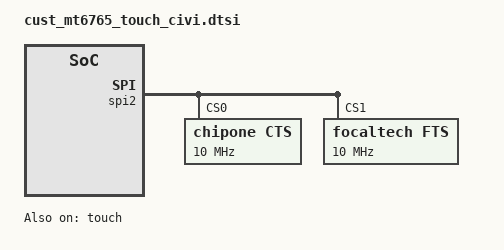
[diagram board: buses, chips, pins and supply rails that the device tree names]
// SPDX-License-Identifier: GPL-2.0+

/* TOUCH start */
//Begin added by yan.gong for CIVIC-3003 on 2022-07-12
/* TOUCH start */
&touch {
	tpd-resolution = <720 1612>;
	use-tpd-button = <0>;
	tpd-key-num = <3>;
	tpd-key-local= <139 172 158 0>;
	tpd-key-dim-local = <90 883 100 40 230
				 883 100 40 370 883 100 40 0 0 0 0>;
	tpd-max-touch-num = <10>;
	tpd-filter-enable = <0>;
	tpd-filter-pixel-density = <146>;
	tpd-filter-custom-prameters = <0 0 0 0 0 0 0 0 0 0 0 0>;
	tpd-filter-custom-speed = <0 0 0>;
	pinctrl-names = "default", "state_eint_as_int", "state_eint_output0",
		"state_eint_output1", "state_rst_output0", "state_rst_output1";
	pinctrl-0 = <&ctp_pins_default>;
	pinctrl-1 = <&ctp_pins_eint_as_int>;
	pinctrl-2 = <&ctp_pins_eint_output0>;
	pinctrl-3 = <&ctp_pins_eint_output1>;
	pinctrl-4 = <&ctp_pins_rst_output0>;
	pinctrl-5 = <&ctp_pins_rst_output1>;
	status = "okay";
};

&pio {
	ctp_pins_default: ctp_pins_default 
	{
		pins_cmd_dat {
			pinmux = <PINMUX_GPIO4__FUNC_GPIO4>;
			slew-rate = <0>;
			bias-disable;
		};
	};
	ctp_pins_eint_as_int: eint@0 {
		pins_cmd_dat {
			pinmux = <PINMUX_GPIO4__FUNC_GPIO4>;
			slew-rate = <0>;
			bias-disable;
		};
	};
	ctp_pins_eint_output0: eintoutput0 {
		pins_cmd_dat {
			pinmux = <PINMUX_GPIO4__FUNC_GPIO4>;
			slew-rate = <1>;
			output-low;
		};
	};
	ctp_pins_eint_output1: eintoutput1 {
		pins_cmd_dat {
			pinmux = <PINMUX_GPIO4__FUNC_GPIO4>;
			slew-rate = <1>;
			output-high;
		};
	};
	ctp_pins_rst_output0: rstoutput0 {
		pins_cmd_dat {
			pinmux = <PINMUX_GPIO174__FUNC_GPIO174>;
			slew-rate = <1>;
			output-low;
		};
	};
	ctp_pins_rst_output1: rstoutput1 {
		pins_cmd_dat {
			pinmux = <PINMUX_GPIO174__FUNC_GPIO174>;
			slew-rate = <1>;
			output-high;
		};
	};
};

&spi2 {
	#address-cells = <1>;
	#size-cells = <0>;
	status = "okay";
	mediatek,pad-select = <0>,<1>;

	chipone@0 {
		compatible = "chipone,cts";
		pinctrl-names = "state_spi_all";
		reg = <0>;
		spi-max-frequency = <10000000>;
		status = "okay";

		/* Charger detect */
		chipone,touch-charger-detect-enable;
		chipone,touch-charger-detect-type = "notify"; /* notify, poll */
		chipone,touch-charger-detect-psy-name = "mt6370_pmu_charger";
		chipone,touch-charger-detect-psp = "POWER_SUPPLY_PROP_ONLINE";
		chipone,touch-charger-detect-psp-poll-interval = <1000>;

		/* Earjack detect */

	//Begin added by zhangkun for CIVIC-3090 on 2022-08-08
		//chipone,touch-earjack-detect-enable;
		/* MTK:  /sys/bus/platform/drivers/Accdet_Driver/state,
		   Sprd: /sys/kernel/headset/state
		   QCOM: None, and disable it */
		//chipone,touch-earjack-state-filepath = "/sys/bus/platform/drivers/Accdet_Driver/state";
		//chipone,touch-earjack-state-filepath = "/sys/bus/platform/drivers/pmic-codec-accdet/state";
		//chipone,touch-earjack-poll-interval = <1000>;
	//End added by zhangkun for CIVIC-3090 on 2022-08-08

	//Begin added by liangjiaqiang for CIVIC-3090 on 2022-07-29
        /* For tp selftest */
		chipone,test-reset-pin;
		//chipone,test-int-pin;
		chipone,test-rawdata;
		chipone,test-rawdata-frames      = <1>;
		chipone,rawdata-min              = <1104>;	//base2000, ±40%
		chipone,rawdata-max              = <3024>;
		chipone,test-noise;
		chipone,test-noise-frames        = <50>;
		chipone,noise-max                = <130>;
		chipone,test-open;
		chipone,open-min                 = <1300>;
		chipone,test-short;
		chipone,short-min                = <1500>;
		chipone,test-compensate-cap;
		chipone,compensate-cap-min       = <1>;
		chipone,compensate-cap-max       = <126>;
	//End added by liangjiaqiang for CIVIC-3090 on 2022-07-29
	};

	focaltech@1 {
		compatible = "focaltech,fts";
		reg = <1>;
		spi-max-frequency = <10000000>;
		status = "okay";
	};
};
/* TOUCH end */
/* TOUCH end */
/* TOUCH end */
//End added by yan.gong for CIVIC-3003 on 2022-07-12
/* TOUCH end */
